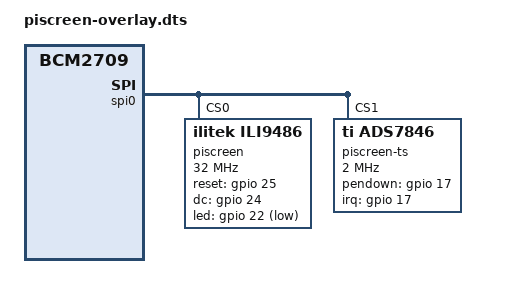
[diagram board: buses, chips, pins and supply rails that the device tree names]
/*
 * Device Tree overlay for PiScreen 3.5" display shield by Ozzmaker
 *
 */

/dts-v1/;
/plugin/;

/ {
	compatible = "brcm,bcm2835", "brcm,bcm2708", "brcm,bcm2709";

	fragment@0 {
		target = <&spi0>;
		__overlay__ {
			status = "okay";

			spidev@0{
				status = "disabled";
			};

			spidev@1{
				status = "disabled";
			};
		};
	};

	fragment@1 {
		target = <&gpio>;
		__overlay__ {
			piscreen_pins: piscreen_pins {
				brcm,pins = <17 25 24 22>;
				brcm,function = <0 1 1 1>; /* in out out out */
			};
		};
	};

	fragment@2 {
		target = <&spi0>;
		__overlay__ {
			/* needed to avoid dtc warning */
			#address-cells = <1>;
			#size-cells = <0>;

			piscreen: piscreen@0{
				compatible = "ilitek,ili9486";
				reg = <0>;
				pinctrl-names = "default";
				pinctrl-0 = <&piscreen_pins>;

				spi-max-frequency = <32000000>;
				rotate = <270>;
				bgr;
				fps = <30>;
				buswidth = <8>;
				regwidth = <16>;
				reset-gpios = <&gpio 25 0>;
				dc-gpios = <&gpio 24 0>;
				led-gpios = <&gpio 22 1>;
				debug = <0>;

				init = <0x10000b0 0x00
				        0x1000011
					0x20000ff
					0x100003a 0x55
					0x1000036 0x28
					0x10000c2 0x44
					0x10000c5 0x00 0x00 0x00 0x00
					0x10000e0 0x0f 0x1f 0x1c 0x0c 0x0f 0x08 0x48 0x98 0x37 0x0a 0x13 0x04 0x11 0x0d 0x00
					0x10000e1 0x0f 0x32 0x2e 0x0b 0x0d 0x05 0x47 0x75 0x37 0x06 0x10 0x03 0x24 0x20 0x00
					0x10000e2 0x0f 0x32 0x2e 0x0b 0x0d 0x05 0x47 0x75 0x37 0x06 0x10 0x03 0x24 0x20 0x00
					0x1000011
					0x1000029>;
			};

			piscreen-ts@1 {
				compatible = "ti,ads7846";
				reg = <1>;

				spi-max-frequency = <2000000>;
				interrupts = <17 2>; /* high-to-low edge triggered */
				interrupt-parent = <&gpio>;
				pendown-gpio = <&gpio 17 0>;
				ti,x-plate-ohms = /bits/ 16 <100>;
				ti,pressure-max = /bits/ 16 <255>;
			};
		};
	};
	__overrides__ {
		speed =		<&piscreen>,"spi-max-frequency:0";
		rotate =	<&piscreen>,"rotate:0";
		fps =		<&piscreen>,"fps:0";
		debug =		<&piscreen>,"debug:0";
	};
};
